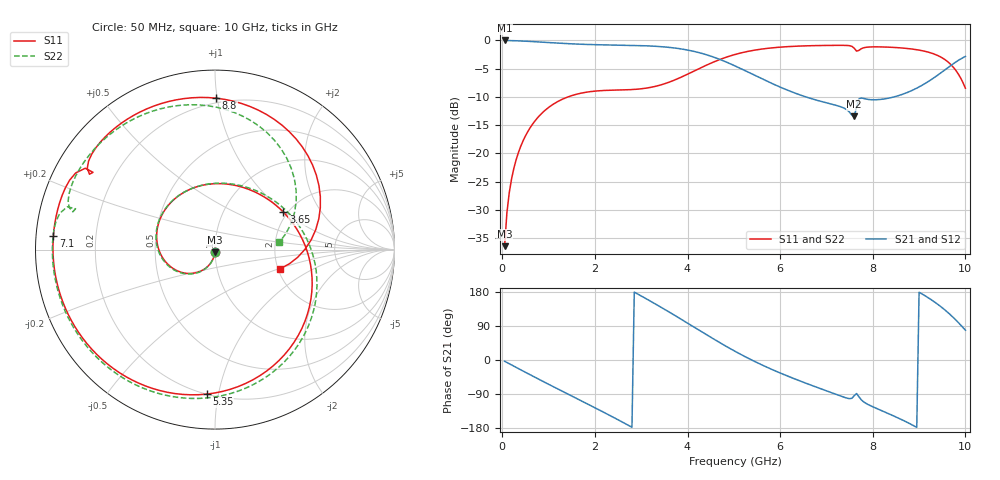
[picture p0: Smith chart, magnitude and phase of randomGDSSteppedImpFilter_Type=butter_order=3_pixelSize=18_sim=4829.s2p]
! freq	dB(S11)	phase(S11)	dB(S12)	phase(S12)
!  dB(S21)	phase(S21)	dB(S22)	phase(S22)
!S-par simulation data
#  GHz  S  DB  R 50
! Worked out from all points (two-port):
!   200 points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, 50 MHz to 10 GHz, reference 50 ohm
!   highest |S21| = -0.01 dB at 50 MHz (marker M1); lowest = -13.4 dB at 7.6 GHz (marker M2)
!   |S21| within 3 dB of the highest: start of sweep to 4.582 GHz; 9.959009 GHz to end of sweep
!   lowest |S11| = -36.4 dB at 50 MHz (marker M3), VSWR 1.03, Z = 49.9 - j1.51 ohm
!   |S11| at or under -10 dB: start of sweep to 1.416 GHz
!   |S22| runs from -36.4 to -0.9 dB; largest |S21 - S12| = 0
!   S11 on the Smith chart (normalised r, x): 50 MHz: 1.00, -0.03; 3.65 GHz: 1.90, +0.98; 5.35 GHz: 0.20, -0.92; 7.1 GHz: 0.05, +0.04; 8.8 GHz: 0.17, +0.99; 10 GHz: 2.05, -0.51
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0.05  -36.39 -92.5  -0.01 -3.3  -0.01 -3.3  -36.39 -92.4
0.2  -24.50 -103.3  -0.04 -13.1  -0.04 -13.1  -24.51 -103.0
0.5  -16.89 -123.3  -0.14 -32.5  -0.14 -32.5  -16.89 -122.5
1.1  -11.28 -161.9  -0.43 -70.3  -0.43 -70.3  -11.28 -160.0
1.75  -9.25 157.4  -0.69 -110.5  -0.69 -110.5  -9.25 160.6
2.65  -8.75 99.2  -0.85 -167.5  -0.85 -167.5  -8.75 104.8
3.4  -7.92 46.9  -1.09 141.2  -1.09 141.2  -7.92 54.2
3.65  -7.24 28.6  -1.27 123.2  -1.27 123.2  -7.24 36.3
4.25  -4.99 -16.2  -2.16 78.7  -2.16 78.7  -4.98 -8.2
4.65  -3.53 -45.8  -3.21 49.2  -3.21 49.2  -3.52 -37.6
5.05  -2.43 -73.9  -4.60 21.3  -4.60 21.3  -2.42 -65.4
5.35  -1.87 -93.4  -5.77 2.2  -5.77 2.2  -1.85 -84.4
5.95  -1.22 -128.0  -8.08 -31.7  -8.08 -31.7  -1.21 -118.0
6.7  -0.93 -165.8  -10.36 -67.9  -10.36 -67.9  -0.91 -153.5
7.1  -0.88 175.2  -11.25 -85.9  -11.25 -85.9  -0.86 -171.1
7.6  -1.38 147.9  -13.45 -94.1  -13.45 -94.1  -1.34 163.8
7.7  -1.77 149.0  -10.36 -96.8  -10.36 -96.8  -1.73 165.1
8.35  -1.20 115.9  -10.20 -142.1  -10.20 -142.1  -1.20 135.3
8.8  -1.48 89.5  -9.02 -168.0  -9.02 -168.0  -1.50 111.4
9.5  -3.09 36.3  -5.56 137.9  -5.56 137.9  -3.18 61.4
9.75  -4.85 11.2  -4.06 110.9  -4.06 110.9  -5.02 36.4
10  -8.45 -16.4  -2.84 78.7  -2.84 78.7  -8.83 6.6
